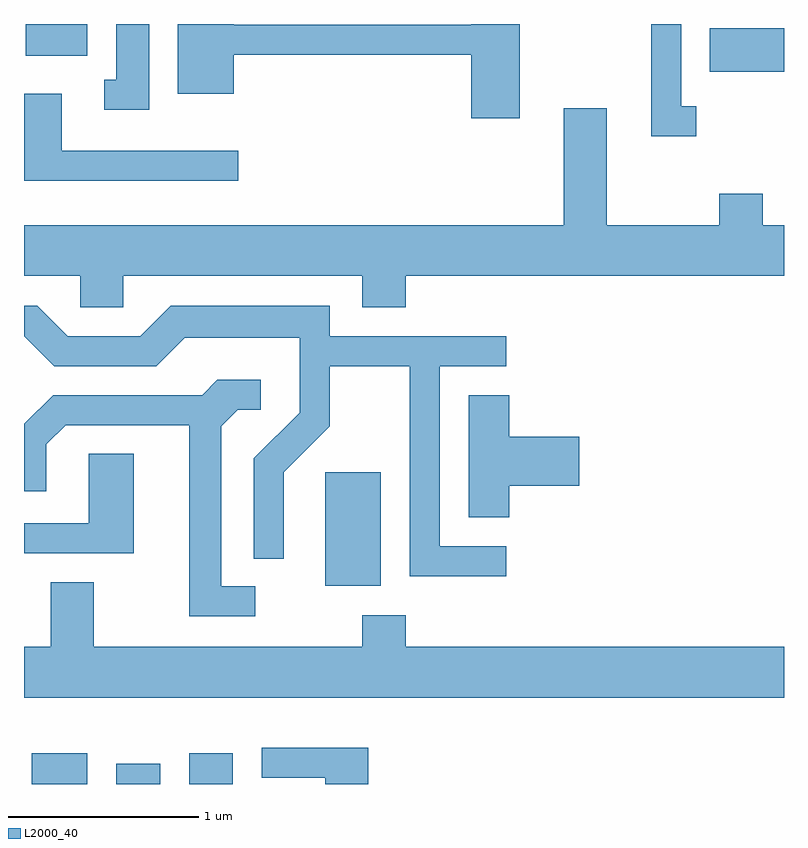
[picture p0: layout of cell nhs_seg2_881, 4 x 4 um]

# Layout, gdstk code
import gdstk
lib = gdstk.Library(unit=1e-6, precision=1e-09)
def R(c, l, rs):  # rectangles x0, y0, x1, y1
    for r in rs: c.add(gdstk.rectangle(r[:2], r[2:], *l))
def P(c, l, *ps):  # polygons
    for p in ps: c.add(gdstk.Polygon(p, *l))
L2000_40 = (2000, 40)

nhs_seg2_881 = lib.new_cell('nhs_seg2_881')
R(nhs_seg2_881, L2000_40, [(209.651,1107.802,209.944,1107.964), (210.096,1107.802,210.329,1107.909), (210.481,1107.802,210.709,1107.964), (211.196,1108.846,211.489,1109.444), (213.221,1111.551,213.611,1111.779), (209.621,1111.636,209.944,1111.802)])
P(nhs_seg2_881, L2000_40, [(210.269,1111.802),(210.096,1111.802),(210.096,1111.509),(210.033,1111.509),(210.033,1111.351),(210.269,1111.351)],
  [(212.219,1111.802),(211.966,1111.802),(211.966,1111.799),(210.714,1111.799),(210.714,1111.802),(210.421,1111.802),(210.421,1111.436),(210.714,1111.436),(210.714,1111.641),(211.966,1111.641),(211.966,1111.306),(212.219,1111.306)],
  [(213.148,1111.369),(213.069,1111.369),(213.069,1111.802),(212.911,1111.802),(212.911,1111.211),(213.148,1111.211)],
  [(210.738,1111.134),(209.809,1111.134),(209.809,1111.434),(209.611,1111.434),(209.611,1110.976),(210.738,1110.976)],
  [(210.134,1110.476),(211.391,1110.476),(211.391,1110.311),(211.619,1110.311),(211.619,1110.476),(213.611,1110.476),(213.611,1110.744),(213.499,1110.744),(213.499,1110.909),(213.271,1110.909),(213.271,1110.744),(212.679,1110.744),(212.679,1111.359),(212.451,1111.359),(212.451,1110.744),(209.611,1110.744),(209.611,1110.476),(209.906,1110.476),(209.906,1110.311),(210.134,1110.311)],
  [(212.148,1109.054),(211.799,1109.054),(211.799,1110.001),(212.148,1110.001),(212.148,1110.159),(211.219,1110.159),(211.219,1110.319),(210.384,1110.319),(210.224,1110.159),(209.842,1110.159),(209.682,1110.319),(209.611,1110.319),(209.611,1110.159),(209.769,1110.001),(210.307,1110.001),(210.457,1110.151),(211.061,1110.151),(211.061,1109.757),(210.821,1109.517),(210.821,1108.988),(210.979,1108.988),(210.979,1109.444),(211.219,1109.684),(211.219,1110.001),(211.641,1110.001),(211.641,1108.896),(212.148,1108.896)],
  [(210.828,1108.844),(210.649,1108.844),(210.649,1109.684),(210.737,1109.771),(210.858,1109.771),(210.858,1109.929),(210.629,1109.929),(210.549,1109.849),(209.764,1109.849),(209.611,1109.697),(209.611,1109.343),(209.729,1109.343),(209.729,1109.589),(209.832,1109.691),(210.481,1109.691),(210.481,1108.686),(210.828,1108.686)],
  [(212.164,1109.371),(212.534,1109.371),(212.534,1109.629),(212.164,1109.629),(212.164,1109.849),(211.951,1109.849),(211.951,1109.206),(212.164,1109.206)],
  [(210.189,1109.539),(209.951,1109.539),(209.951,1109.174),(209.611,1109.174),(209.611,1109.016),(210.189,1109.016)],
  [(213.611,1108.524),(211.619,1108.524),(211.619,1108.689),(211.391,1108.689),(211.391,1108.524),(209.979,1108.524),(209.979,1108.864),(209.751,1108.864),(209.751,1108.524),(209.611,1108.524),(209.611,1108.256),(213.611,1108.256)],
  [(211.424,1107.994),(210.863,1107.994),(210.863,1107.836),(211.196,1107.836),(211.196,1107.802),(211.424,1107.802)])

lib.write_gds('nhs_seg2_881.gds')
